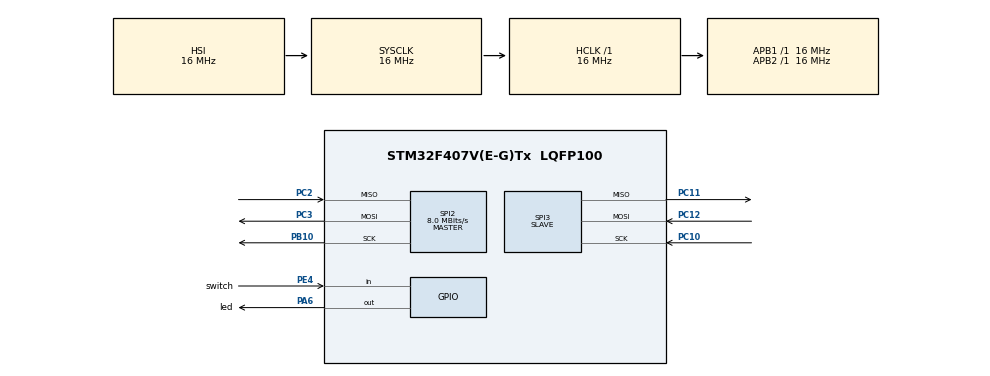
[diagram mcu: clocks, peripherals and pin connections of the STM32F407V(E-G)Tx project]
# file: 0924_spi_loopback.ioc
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Dma.Request0=SPI2_RX
Dma.Request1=SPI2_TX
Dma.Request2=SPI3_RX
Dma.Request3=SPI3_TX
Dma.SPI2_RX.0.Direction=DMA_PERIPH_TO_MEMORY
Dma.SPI2_RX.0.FIFOMode=DMA_FIFOMODE_DISABLE
Dma.SPI2_RX.0.Instance=DMA1_Stream3
Dma.SPI2_RX.0.MemDataAlignment=DMA_MDATAALIGN_BYTE
Dma.SPI2_RX.0.MemInc=DMA_MINC_ENABLE
Dma.SPI2_RX.0.Mode=DMA_NORMAL
Dma.SPI2_RX.0.PeriphDataAlignment=DMA_PDATAALIGN_BYTE
Dma.SPI2_RX.0.PeriphInc=DMA_PINC_DISABLE
Dma.SPI2_RX.0.Priority=DMA_PRIORITY_LOW
Dma.SPI2_TX.1.Direction=DMA_MEMORY_TO_PERIPH
Dma.SPI2_TX.1.FIFOMode=DMA_FIFOMODE_DISABLE
Dma.SPI2_TX.1.Instance=DMA1_Stream4
Dma.SPI2_TX.1.MemDataAlignment=DMA_MDATAALIGN_BYTE
Dma.SPI2_TX.1.MemInc=DMA_MINC_ENABLE
Dma.SPI2_TX.1.Mode=DMA_NORMAL
Dma.SPI2_TX.1.PeriphDataAlignment=DMA_PDATAALIGN_BYTE
Dma.SPI2_TX.1.PeriphInc=DMA_PINC_DISABLE
Dma.SPI2_TX.1.Priority=DMA_PRIORITY_LOW
Dma.SPI3_RX.2.Direction=DMA_PERIPH_TO_MEMORY
Dma.SPI3_RX.2.FIFOMode=DMA_FIFOMODE_DISABLE
Dma.SPI3_RX.2.Instance=DMA1_Stream0
Dma.SPI3_RX.2.MemDataAlignment=DMA_MDATAALIGN_BYTE
Dma.SPI3_RX.2.MemInc=DMA_MINC_ENABLE
Dma.SPI3_RX.2.Mode=DMA_NORMAL
Dma.SPI3_RX.2.PeriphDataAlignment=DMA_PDATAALIGN_BYTE
Dma.SPI3_RX.2.PeriphInc=DMA_PINC_DISABLE
Dma.SPI3_RX.2.Priority=DMA_PRIORITY_LOW
Dma.SPI3_TX.3.Direction=DMA_MEMORY_TO_PERIPH
Dma.SPI3_TX.3.FIFOMode=DMA_FIFOMODE_DISABLE
Dma.SPI3_TX.3.Instance=DMA1_Stream5
Dma.SPI3_TX.3.MemDataAlignment=DMA_MDATAALIGN_BYTE
Dma.SPI3_TX.3.MemInc=DMA_MINC_ENABLE
Dma.SPI3_TX.3.Mode=DMA_NORMAL
Dma.SPI3_TX.3.PeriphDataAlignment=DMA_PDATAALIGN_BYTE
Dma.SPI3_TX.3.PeriphInc=DMA_PINC_DISABLE
Dma.SPI3_TX.3.Priority=DMA_PRIORITY_LOW
Mcu.Family=STM32F4
Mcu.Name=STM32F407V(E-G)Tx
Mcu.Package=LQFP100
NVIC.DMA1_Stream0_IRQn=true\:0\:0\:false\:false\:true
NVIC.DMA1_Stream3_IRQn=true\:0\:0\:false\:false\:true
NVIC.DMA1_Stream4_IRQn=true\:0\:0\:false\:false\:true
NVIC.DMA1_Stream5_IRQn=true\:0\:0\:false\:false\:true
NVIC.PriorityGroup=NVIC_PRIORITYGROUP_4
PA13.Mode=Serial_Wire
PA13.Signal=SYS_JTMS-SWDIO
PA14.Mode=Serial_Wire
PA14.Signal=SYS_JTCK-SWCLK
PA6.GPIO_Label=led
PA6.Signal=GPIO_Output
PB10.Mode=Full_Duplex_Master
PB10.Signal=SPI2_SCK
PC10.Mode=Full_Duplex_Slave
PC10.Signal=SPI3_SCK
PC11.Mode=Full_Duplex_Slave
PC11.Signal=SPI3_MISO
PC12.Mode=Full_Duplex_Slave
PC12.Signal=SPI3_MOSI
PC2.Mode=Full_Duplex_Master
PC2.Signal=SPI2_MISO
PC3.Mode=Full_Duplex_Master
PC3.Signal=SPI2_MOSI
PE4.GPIO_Label=switch
PE4.GPIO_PuPd=GPIO_PULLUP
PE4.Signal=GPIO_Input
ProjectManager.HeapSize=0x200
ProjectManager.StackSize=0x400
ProjectManager.TargetToolchain=EWARM
RCC.AHBFreq_Value=16000000
RCC.APB1Freq_Value=16000000
RCC.APB2Freq_Value=16000000
RCC.CortexFreq_Value=16000000
RCC.HSE_VALUE=25000000
RCC.HSI_VALUE=16000000
RCC.SYSCLKFreq_VALUE=16000000
RCC.VCOOutputFreq_Value=192000000
SPI2.CalculateBaudRate=8.0 MBits/s
SPI2.Direction=SPI_DIRECTION_2LINES
SPI2.Mode=SPI_MODE_MASTER
SPI2.VirtualType=VM_MASTER
SPI3.Direction=SPI_DIRECTION_2LINES
SPI3.Mode=SPI_MODE_SLAVE
SPI3.VirtualType=VM_SLAVE
board=0924_spi_loopback

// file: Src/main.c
/**
  ******************************************************************************
  * File Name          : main.c
  * Description        : Main program body
  ******************************************************************************
  ** This notice applies to any and all portions of this file
  * that are not between comment pairs USER CODE BEGIN and
  * USER CODE END. Other portions of this file, whether
  * inserted by the user or by software development tools
  * are owned by their respective copyright owners.
  *
  * COPYRIGHT(c) 2017 STMicroelectronics
  *
  * Redistribution and use in source and binary forms, with or without modification,
  * are permitted provided that the following conditions are met:
  *   1. Redistributions of source code must retain the above copyright notice,
  *      this list of conditions and the following disclaimer.
  *   2. Redistributions in binary form must reproduce the above copyright notice,
  *      this list of conditions and the following disclaimer in the documentation
  *      and/or other materials provided with the distribution.
  *   3. Neither the name of STMicroelectronics nor the names of its contributors
  *      may be used to endorse or promote products derived from this software
  *      without specific prior written permission.
  *
  * THIS SOFTWARE IS PROVIDED BY THE COPYRIGHT HOLDERS AND CONTRIBUTORS "AS IS"
  * AND ANY EXPRESS OR IMPLIED WARRANTIES, INCLUDING, BUT NOT LIMITED TO, THE
  * IMPLIED WARRANTIES OF MERCHANTABILITY AND FITNESS FOR A PARTICULAR PURPOSE ARE
  * DISCLAIMED. IN NO EVENT SHALL THE COPYRIGHT HOLDER OR CONTRIBUTORS BE LIABLE
  * FOR ANY DIRECT, INDIRECT, INCIDENTAL, SPECIAL, EXEMPLARY, OR CONSEQUENTIAL
  * DAMAGES (INCLUDING, BUT NOT LIMITED TO, PROCUREMENT OF SUBSTITUTE GOODS OR
  * SERVICES; LOSS OF USE, DATA, OR PROFITS; OR BUSINESS INTERRUPTION) HOWEVER
  * CAUSED AND ON ANY THEORY OF LIABILITY, WHETHER IN CONTRACT, STRICT LIABILITY,
  * OR TORT (INCLUDING NEGLIGENCE OR OTHERWISE) ARISING IN ANY WAY OUT OF THE USE
  * OF THIS SOFTWARE, EVEN IF ADVISED OF THE POSSIBILITY OF SUCH DAMAGE.
  *
  ******************************************************************************
  */
#include "main.h"
#include "stm32f4xx_hal.h"

SPI_HandleTypeDef hspi2;
SPI_HandleTypeDef hspi3;
DMA_HandleTypeDef hdma_spi2_rx;
DMA_HandleTypeDef hdma_spi2_tx;
DMA_HandleTypeDef hdma_spi3_rx;
DMA_HandleTypeDef hdma_spi3_tx;

/* USER CODE BEGIN PV */
/* Private variables ---------------------------------------------------------*/
#define COUNTOF(__BUFFER__) (sizeof(__BUFFER__)/sizeof(*(__BUFFER__)))
#define SLAVE_TX_SIZE (COUNTOF(slave_buffer_tx)-1)
#define MASTER_TX_SIZE (COUNTOF(master_buffer_tx)-1)

/* Master, Slave Tx Buffer */
uint8_t master_buffer_tx[] = "STM32L0 SPI Master Tx";
uint8_t slave_buffer_tx[] = "STM32L0 SPI Slave Tx";

/* Master, Slave Rx Buffer */
uint8_t master_buffer_rx[SLAVE_TX_SIZE] = {0, };
uint8_t slave_buffer_rx[MASTER_TX_SIZE] = {0, };
/* USER CODE END PV */

void SystemClock_Config(void);
static void MX_GPIO_Init(void);
static void MX_DMA_Init(void);
static void MX_SPI2_Init(void);
static void MX_SPI3_Init(void);

/* USER CODE BEGIN PFP */
/* Private function prototypes -----------------------------------------------*/

/* USER CODE END PFP */

int main(void)
{

  /* MCU Configuration----------------------------------------------------------*/

  /* Reset of all peripherals, Initializes the Flash interface and the Systick. */
  HAL_Init();

  /* Configure the system clock */
  SystemClock_Config();

  /* Initialize all configured peripherals */
  MX_GPIO_Init();
  MX_DMA_Init();
  MX_SPI2_Init();
  MX_SPI3_Init();

  /* USER CODE BEGIN 2 */
  /* Wait for the button event */

  /*while(1)
  {
    HAL_GPIO_WritePin(GPIOA, GPIO_PIN_6, GPIO_PIN_RESET);
    HAL_Delay(400);
    HAL_GPIO_WritePin(GPIOA, GPIO_PIN_6, GPIO_PIN_SET);
    HAL_Delay(100);
  }*/
  while(HAL_GPIO_ReadPin(GPIOE, GPIO_PIN_4) != GPIO_PIN_RESET);

  /* Receive the data from SPI2(master) */
  if(HAL_SPI_Receive_DMA(&hspi3, (uint8_t*)slave_buffer_rx, MASTER_TX_SIZE) != HAL_OK)
  {

  }

  /* Send the data to SPI3(slave) */
  if(HAL_SPI_Transmit_DMA(&hspi2, (uint8_t*)master_buffer_tx, MASTER_TX_SIZE) != HAL_OK)
  {

  }

  /*Check the SPI tx, rx state */
  while(HAL_SPI_GetState(&hspi3) != HAL_SPI_STATE_READY);
  while(HAL_SPI_GetState(&hspi2) != HAL_SPI_STATE_READY);
  HAL_GPIO_WritePin(GPIOA, GPIO_PIN_6, GPIO_PIN_SET);
  HAL_Delay(2000);
  /* Send the data to SPI2(master) */
  if(HAL_SPI_Transmit_DMA(&hspi3, (uint8_t*)slave_buffer_tx, SLAVE_TX_SIZE) != HAL_OK)
  {

  }

  /* Receive the data from SPI3(slave) */
  if(HAL_SPI_Receive_DMA(&hspi2, (uint8_t*)master_buffer_rx, SLAVE_TX_SIZE) != HAL_OK)
  {

  }

  /*Check the SPI tx, rx state */
  while(HAL_SPI_GetState(&hspi3) != HAL_SPI_STATE_READY);
  while(HAL_SPI_GetState(&hspi2) != HAL_SPI_STATE_READY);
  /* USER CODE END 2 */

  /* Infinite loop */
  while (1)
  {

  /* USER CODE BEGIN 3 */
    //HAL_GPIO_TogglePin(GPIOA, GPIO_PIN_6);
    //HAL_Delay(500);
    HAL_GPIO_WritePin(GPIOA, GPIO_PIN_6, GPIO_PIN_RESET);
    HAL_Delay(300);
    HAL_GPIO_WritePin(GPIOA, GPIO_PIN_6, GPIO_PIN_SET);
    HAL_Delay(200);
  }
  /* USER CODE END 3 */

}

/** System Clock Configuration
*/
void SystemClock_Config(void)
{

  RCC_OscInitTypeDef RCC_OscInitStruct;
  RCC_ClkInitTypeDef RCC_ClkInitStruct;

    /**Configure the main internal regulator output voltage
    */
  __HAL_RCC_PWR_CLK_ENABLE();

  __HAL_PWR_VOLTAGESCALING_CONFIG(PWR_REGULATOR_VOLTAGE_SCALE1);

    /**Initializes the CPU, AHB and APB busses clocks
    */
  RCC_OscInitStruct.OscillatorType = RCC_OSCILLATORTYPE_HSI;
  RCC_OscInitStruct.HSIState = RCC_HSI_ON;
  RCC_OscInitStruct.HSICalibrationValue = 16;
  RCC_OscInitStruct.PLL.PLLState = RCC_PLL_NONE;
  if (HAL_RCC_OscConfig(&RCC_OscInitStruct) != HAL_OK)
  {
    _Error_Handler(__FILE__, __LINE__);
  }

    /**Initializes the CPU, AHB and APB busses clocks
    */
  RCC_ClkInitStruct.ClockType = RCC_CLOCKTYPE_HCLK|RCC_CLOCKTYPE_SYSCLK
                              |RCC_CLOCKTYPE_PCLK1|RCC_CLOCKTYPE_PCLK2;
  RCC_ClkInitStruct.SYSCLKSource = RCC_SYSCLKSOURCE_HSI;
  RCC_ClkInitStruct.AHBCLKDivider = RCC_SYSCLK_DIV1;
  RCC_ClkInitStruct.APB1CLKDivider = RCC_HCLK_DIV1;
  RCC_ClkInitStruct.APB2CLKDivider = RCC_HCLK_DIV1;

  if (HAL_RCC_ClockConfig(&RCC_ClkInitStruct, FLASH_LATENCY_0) != HAL_OK)
  {
    _Error_Handler(__FILE__, __LINE__);
  }

    /**Configure the Systick interrupt time
    */
  HAL_SYSTICK_Config(HAL_RCC_GetHCLKFreq()/1000);

    /**Configure the Systick
    */
  HAL_SYSTICK_CLKSourceConfig(SYSTICK_CLKSOURCE_HCLK);

  /* SysTick_IRQn interrupt configuration */
  HAL_NVIC_SetPriority(SysTick_IRQn, 0, 0);
}

/* SPI2 init function */
static void MX_SPI2_Init(void)
{

  hspi2.Instance = SPI2;
  hspi2.Init.Mode = SPI_MODE_MASTER;
  hspi2.Init.Direction = SPI_DIRECTION_2LINES;
  hspi2.Init.DataSize = SPI_DATASIZE_8BIT;
  hspi2.Init.CLKPolarity = SPI_POLARITY_LOW;
  hspi2.Init.CLKPhase = SPI_PHASE_1EDGE;
  hspi2.Init.NSS = SPI_NSS_SOFT;
  hspi2.Init.BaudRatePrescaler = SPI_BAUDRATEPRESCALER_2;
  hspi2.Init.FirstBit = SPI_FIRSTBIT_MSB;
  hspi2.Init.TIMode = SPI_TIMODE_DISABLE;
  hspi2.Init.CRCCalculation = SPI_CRCCALCULATION_DISABLE;
  hspi2.Init.CRCPolynomial = 10;
  if (HAL_SPI_Init(&hspi2) != HAL_OK)
  {
    _Error_Handler(__FILE__, __LINE__);
  }

}

/* SPI3 init function */
static void MX_SPI3_Init(void)
{

  hspi3.Instance = SPI3;
  hspi3.Init.Mode = SPI_MODE_SLAVE;
  hspi3.Init.Direction = SPI_DIRECTION_2LINES;
  hspi3.Init.DataSize = SPI_DATASIZE_8BIT;
  hspi3.Init.CLKPolarity = SPI_POLARITY_LOW;
  hspi3.Init.CLKPhase = SPI_PHASE_1EDGE;
  hspi3.Init.NSS = SPI_NSS_SOFT;
  hspi3.Init.FirstBit = SPI_FIRSTBIT_MSB;
  hspi3.Init.TIMode = SPI_TIMODE_DISABLE;
  hspi3.Init.CRCCalculation = SPI_CRCCALCULATION_DISABLE;
  hspi3.Init.CRCPolynomial = 10;
  if (HAL_SPI_Init(&hspi3) != HAL_OK)
  {
    _Error_Handler(__FILE__, __LINE__);
  }

}

static void MX_DMA_Init(void)
{
  /* DMA controller clock enable */
  __HAL_RCC_DMA1_CLK_ENABLE();

  /* DMA interrupt init */
  /* DMA1_Stream0_IRQn interrupt configuration */
  HAL_NVIC_SetPriority(DMA1_Stream0_IRQn, 0, 0);
  HAL_NVIC_EnableIRQ(DMA1_Stream0_IRQn);
  /* DMA1_Stream3_IRQn interrupt configuration */
  HAL_NVIC_SetPriority(DMA1_Stream3_IRQn, 0, 0);
  HAL_NVIC_EnableIRQ(DMA1_Stream3_IRQn);
  /* DMA1_Stream4_IRQn interrupt configuration */
  HAL_NVIC_SetPriority(DMA1_Stream4_IRQn, 0, 0);
  HAL_NVIC_EnableIRQ(DMA1_Stream4_IRQn);
  /* DMA1_Stream5_IRQn interrupt configuration */
  HAL_NVIC_SetPriority(DMA1_Stream5_IRQn, 0, 0);
  HAL_NVIC_EnableIRQ(DMA1_Stream5_IRQn);

}

/** Configure pins as
        * Analog
        * Input
        * Output
        * EVENT_OUT
        * EXTI
*/
static void MX_GPIO_Init(void)
{

  GPIO_InitTypeDef GPIO_InitStruct;

  /* GPIO Ports Clock Enable */
  __HAL_RCC_GPIOE_CLK_ENABLE();
  __HAL_RCC_GPIOC_CLK_ENABLE();
  __HAL_RCC_GPIOA_CLK_ENABLE();
  __HAL_RCC_GPIOB_CLK_ENABLE();

  /*Configure GPIO pin Output Level */
  HAL_GPIO_WritePin(led_GPIO_Port, led_Pin, GPIO_PIN_RESET);

  /*Configure GPIO pin : switch_Pin */
  GPIO_InitStruct.Pin = switch_Pin;
  GPIO_InitStruct.Mode = GPIO_MODE_INPUT;
  GPIO_InitStruct.Pull = GPIO_PULLUP;
  HAL_GPIO_Init(switch_GPIO_Port, &GPIO_InitStruct);

  /*Configure GPIO pin : led_Pin */
  GPIO_InitStruct.Pin = led_Pin;
  GPIO_InitStruct.Mode = GPIO_MODE_OUTPUT_PP;
  GPIO_InitStruct.Pull = GPIO_NOPULL;
  GPIO_InitStruct.Speed = GPIO_SPEED_FREQ_LOW;
  HAL_GPIO_Init(led_GPIO_Port, &GPIO_InitStruct);

}

void _Error_Handler(char * file, int line)
{
  while(1)
  {
  }
}

/************************ (C) COPYRIGHT STMicroelectronics *****END OF FILE****/
